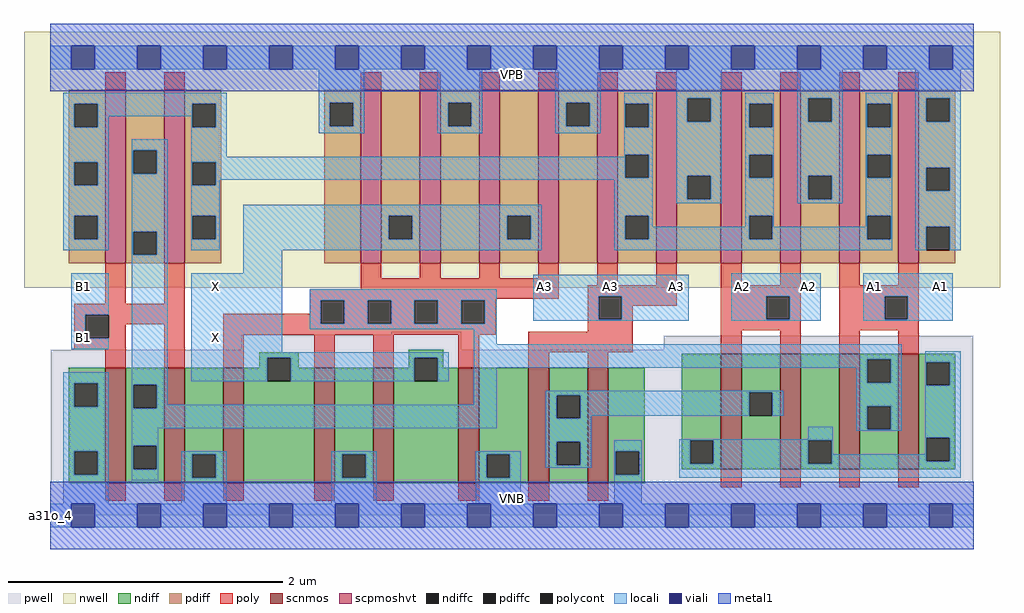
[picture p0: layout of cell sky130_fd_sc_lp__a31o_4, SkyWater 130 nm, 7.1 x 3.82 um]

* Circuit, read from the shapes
.subckt sky130_fd_sc_lp__a31o_4 A1 A2 A3 B1 VGND VNB VPB VPWR X
XM1 n1 B1 VGND VNB sky130_fd_pr__nfet_01v8 w=0.84 l=0.15 m=2
XM2 X n1 VGND VNB sky130_fd_pr__nfet_01v8 w=0.84 l=0.15 m=4
XM3 n2 A3 VGND VNB sky130_fd_pr__nfet_01v8 w=0.84 l=0.15 m=2
XM4 n2 A2 n3 VNB sky130_fd_pr__nfet_01v8 w=0.84 l=0.15 m=2
XM5 n1 A1 n3 VNB sky130_fd_pr__nfet_01v8 w=0.84 l=0.15 m=2
XM6 n1 B1 n4 VPB sky130_fd_pr__pfet_01v8_hvt w=1.26 l=0.15 m=2
XM7 X n1 VPWR VPB sky130_fd_pr__pfet_01v8_hvt w=1.26 l=0.15 m=4
XM8 n4 A3 VPWR VPB sky130_fd_pr__pfet_01v8_hvt w=1.26 l=0.15 m=2
XM9 n4 A2 VPWR VPB sky130_fd_pr__pfet_01v8_hvt w=1.26 l=0.15 m=2
XM10 n4 A1 VPWR VPB sky130_fd_pr__pfet_01v8_hvt w=1.26 l=0.15 m=2
.ends

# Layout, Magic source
magic
tech sky130A
magscale 1 2
<< nwell >>
rect -38 331 1382 704
<< pwell >>
rect 496 263 598 267
rect 278 241 598 263
rect 893 241 1343 261
rect 1 49 1343 241
rect 0 0 1344 49
<< scnmos >>
rect 80 47 110 215
rect 166 47 196 215
rect 252 47 282 215
rect 384 47 414 215
rect 470 47 500 215
rect 594 47 624 215
rect 696 47 726 215
rect 782 47 812 215
rect 976 67 1006 235
rect 1062 67 1092 235
rect 1148 67 1178 235
rect 1234 67 1264 235
<< scpmoshvt >>
rect 80 367 110 619
rect 166 367 196 619
rect 452 367 482 619
rect 538 367 568 619
rect 624 367 654 619
rect 710 367 740 619
rect 796 367 826 619
rect 882 367 912 619
rect 976 367 1006 619
rect 1062 367 1092 619
rect 1148 367 1178 619
rect 1234 367 1264 619
<< ndiff >>
rect 304 229 362 237
rect 304 215 316 229
rect 27 192 80 215
rect 27 158 35 192
rect 69 158 80 192
rect 27 93 80 158
rect 27 59 35 93
rect 69 59 80 93
rect 27 47 80 59
rect 110 190 166 215
rect 110 156 121 190
rect 155 156 166 190
rect 110 101 166 156
rect 110 67 121 101
rect 155 67 166 101
rect 110 47 166 67
rect 196 89 252 215
rect 196 55 207 89
rect 241 55 252 89
rect 196 47 252 55
rect 282 195 316 215
rect 350 215 362 229
rect 522 229 572 241
rect 522 215 530 229
rect 350 195 384 215
rect 282 47 384 195
rect 414 89 470 215
rect 414 55 425 89
rect 459 55 470 89
rect 414 47 470 55
rect 500 195 530 215
rect 564 215 572 229
rect 564 195 594 215
rect 500 47 594 195
rect 624 89 696 215
rect 624 55 635 89
rect 669 55 696 89
rect 624 47 696 55
rect 726 175 782 215
rect 726 141 737 175
rect 771 141 782 175
rect 726 107 782 141
rect 726 73 737 107
rect 771 73 782 107
rect 726 47 782 73
rect 812 93 865 215
rect 812 59 823 93
rect 857 59 865 93
rect 919 109 976 235
rect 919 75 931 109
rect 965 75 976 109
rect 919 67 976 75
rect 1006 179 1062 235
rect 1006 145 1017 179
rect 1051 145 1062 179
rect 1006 67 1062 145
rect 1092 109 1148 235
rect 1092 75 1103 109
rect 1137 75 1148 109
rect 1092 67 1148 75
rect 1178 227 1234 235
rect 1178 193 1189 227
rect 1223 193 1234 227
rect 1178 159 1234 193
rect 1178 125 1189 159
rect 1223 125 1234 159
rect 1178 67 1234 125
rect 1264 223 1317 235
rect 1264 189 1275 223
rect 1309 189 1317 223
rect 1264 113 1317 189
rect 1264 79 1275 113
rect 1309 79 1317 113
rect 1264 67 1317 79
rect 812 47 865 59
<< pdiff >>
rect 27 599 80 619
rect 27 565 35 599
rect 69 565 80 599
rect 27 514 80 565
rect 27 480 35 514
rect 69 480 80 514
rect 27 436 80 480
rect 27 402 35 436
rect 69 402 80 436
rect 27 367 80 402
rect 110 531 166 619
rect 110 497 121 531
rect 155 497 166 531
rect 110 413 166 497
rect 110 379 121 413
rect 155 379 166 413
rect 110 367 166 379
rect 196 599 249 619
rect 196 565 207 599
rect 241 565 249 599
rect 196 514 249 565
rect 196 480 207 514
rect 241 480 249 514
rect 196 436 249 480
rect 196 402 207 436
rect 241 402 249 436
rect 196 367 249 402
rect 399 600 452 619
rect 399 566 407 600
rect 441 566 452 600
rect 399 367 452 566
rect 482 436 538 619
rect 482 402 493 436
rect 527 402 538 436
rect 482 367 538 402
rect 568 600 624 619
rect 568 566 579 600
rect 613 566 624 600
rect 568 367 624 566
rect 654 436 710 619
rect 654 402 665 436
rect 699 402 710 436
rect 654 367 710 402
rect 740 600 796 619
rect 740 566 751 600
rect 785 566 796 600
rect 740 367 796 566
rect 826 599 882 619
rect 826 565 837 599
rect 871 565 882 599
rect 826 525 882 565
rect 826 491 837 525
rect 871 491 882 525
rect 826 436 882 491
rect 826 402 837 436
rect 871 402 882 436
rect 826 367 882 402
rect 912 607 976 619
rect 912 573 927 607
rect 961 573 976 607
rect 912 494 976 573
rect 912 460 927 494
rect 961 460 976 494
rect 912 367 976 460
rect 1006 599 1062 619
rect 1006 565 1017 599
rect 1051 565 1062 599
rect 1006 525 1062 565
rect 1006 491 1017 525
rect 1051 491 1062 525
rect 1006 436 1062 491
rect 1006 402 1017 436
rect 1051 402 1062 436
rect 1006 367 1062 402
rect 1092 607 1148 619
rect 1092 573 1103 607
rect 1137 573 1148 607
rect 1092 494 1148 573
rect 1092 460 1103 494
rect 1137 460 1148 494
rect 1092 367 1148 460
rect 1178 599 1234 619
rect 1178 565 1189 599
rect 1223 565 1234 599
rect 1178 525 1234 565
rect 1178 491 1189 525
rect 1223 491 1234 525
rect 1178 436 1234 491
rect 1178 402 1189 436
rect 1223 402 1234 436
rect 1178 367 1234 402
rect 1264 607 1317 619
rect 1264 573 1275 607
rect 1309 573 1317 607
rect 1264 506 1317 573
rect 1264 472 1275 506
rect 1309 472 1317 506
rect 1264 420 1317 472
rect 1264 386 1275 420
rect 1309 386 1317 420
rect 1264 367 1317 386
<< ndiffc >>
rect 35 158 69 192
rect 35 59 69 93
rect 121 156 155 190
rect 121 67 155 101
rect 207 55 241 89
rect 316 195 350 229
rect 425 55 459 89
rect 530 195 564 229
rect 635 55 669 89
rect 737 141 771 175
rect 737 73 771 107
rect 823 59 857 93
rect 931 75 965 109
rect 1017 145 1051 179
rect 1103 75 1137 109
rect 1189 193 1223 227
rect 1189 125 1223 159
rect 1275 189 1309 223
rect 1275 79 1309 113
<< pdiffc >>
rect 35 565 69 599
rect 35 480 69 514
rect 35 402 69 436
rect 121 497 155 531
rect 121 379 155 413
rect 207 565 241 599
rect 207 480 241 514
rect 207 402 241 436
rect 407 566 441 600
rect 493 402 527 436
rect 579 566 613 600
rect 665 402 699 436
rect 751 566 785 600
rect 837 565 871 599
rect 837 491 871 525
rect 837 402 871 436
rect 927 573 961 607
rect 927 460 961 494
rect 1017 565 1051 599
rect 1017 491 1051 525
rect 1017 402 1051 436
rect 1103 573 1137 607
rect 1103 460 1137 494
rect 1189 565 1223 599
rect 1189 491 1223 525
rect 1189 402 1223 436
rect 1275 573 1309 607
rect 1275 472 1309 506
rect 1275 386 1309 420
<< poly >>
rect 80 619 110 645
rect 166 619 196 645
rect 452 619 482 645
rect 538 619 568 645
rect 624 619 654 645
rect 710 619 740 645
rect 796 619 826 645
rect 882 619 912 645
rect 976 619 1006 645
rect 1062 619 1092 645
rect 1148 619 1178 645
rect 1234 619 1264 645
rect 80 308 110 367
rect 166 308 196 367
rect 452 345 482 367
rect 538 345 568 367
rect 624 345 654 367
rect 710 345 740 367
rect 452 329 740 345
rect 796 335 826 367
rect 882 335 912 367
rect 35 292 196 308
rect 378 315 740 329
rect 782 319 912 335
rect 378 313 648 315
rect 378 293 394 313
rect 35 258 51 292
rect 85 278 196 292
rect 85 258 110 278
rect 35 242 110 258
rect 80 215 110 242
rect 166 215 196 278
rect 252 279 394 293
rect 428 279 462 313
rect 496 279 530 313
rect 564 279 598 313
rect 632 279 648 313
rect 252 263 648 279
rect 782 285 798 319
rect 832 305 912 319
rect 976 335 1006 367
rect 1062 335 1092 367
rect 976 319 1092 335
rect 832 285 848 305
rect 782 267 848 285
rect 252 215 282 263
rect 384 215 414 263
rect 470 215 500 263
rect 594 215 624 263
rect 696 237 848 267
rect 976 285 1042 319
rect 1076 285 1092 319
rect 976 269 1092 285
rect 696 215 726 237
rect 782 215 812 237
rect 976 235 1006 269
rect 1062 235 1092 269
rect 1148 335 1178 367
rect 1234 335 1264 367
rect 1148 319 1264 335
rect 1148 285 1214 319
rect 1248 285 1264 319
rect 1148 269 1264 285
rect 1148 235 1178 269
rect 1234 235 1264 269
rect 80 21 110 47
rect 166 21 196 47
rect 252 21 282 47
rect 384 21 414 47
rect 470 21 500 47
rect 594 21 624 47
rect 696 21 726 47
rect 782 21 812 47
rect 976 41 1006 67
rect 1062 41 1092 67
rect 1148 41 1178 67
rect 1234 41 1264 67
<< polycont >>
rect 51 258 85 292
rect 394 279 428 313
rect 462 279 496 313
rect 530 279 564 313
rect 598 279 632 313
rect 798 285 832 319
rect 1042 285 1076 319
rect 1214 285 1248 319
<< locali >>
rect 0 649 31 683
rect 65 649 127 683
rect 161 649 223 683
rect 257 649 319 683
rect 353 649 415 683
rect 449 649 511 683
rect 545 649 607 683
rect 641 649 703 683
rect 737 649 799 683
rect 833 649 895 683
rect 929 649 991 683
rect 1025 649 1087 683
rect 1121 649 1183 683
rect 1217 649 1279 683
rect 1313 649 1344 683
rect 19 599 257 615
rect 19 565 35 599
rect 69 581 207 599
rect 69 565 85 581
rect 19 514 85 565
rect 205 565 207 581
rect 241 565 257 599
rect 19 480 35 514
rect 69 480 85 514
rect 19 436 85 480
rect 19 402 35 436
rect 69 402 85 436
rect 19 386 85 402
rect 119 531 171 547
rect 119 497 121 531
rect 155 497 171 531
rect 119 413 171 497
rect 119 379 121 413
rect 155 379 171 413
rect 205 522 257 565
rect 391 600 457 649
rect 391 566 407 600
rect 441 566 457 600
rect 391 556 457 566
rect 563 600 629 649
rect 563 566 579 600
rect 613 566 629 600
rect 563 556 629 566
rect 735 600 801 649
rect 735 566 751 600
rect 785 566 801 600
rect 735 556 801 566
rect 835 599 877 615
rect 835 565 837 599
rect 871 565 877 599
rect 835 525 877 565
rect 835 522 837 525
rect 205 514 837 522
rect 205 480 207 514
rect 241 491 837 514
rect 871 491 877 525
rect 241 488 877 491
rect 241 480 247 488
rect 205 436 247 480
rect 205 402 207 436
rect 241 402 247 436
rect 205 386 247 402
rect 281 436 715 452
rect 281 402 493 436
rect 527 402 665 436
rect 699 402 715 436
rect 281 386 715 402
rect 821 436 877 488
rect 911 607 977 649
rect 911 573 927 607
rect 961 573 977 607
rect 911 494 977 573
rect 911 460 927 494
rect 961 460 977 494
rect 911 454 977 460
rect 1011 599 1053 615
rect 1011 565 1017 599
rect 1051 565 1053 599
rect 1011 525 1053 565
rect 1011 491 1017 525
rect 1051 491 1053 525
rect 821 402 837 436
rect 871 420 877 436
rect 1011 436 1053 491
rect 1087 607 1153 649
rect 1087 573 1103 607
rect 1137 573 1153 607
rect 1087 494 1153 573
rect 1087 460 1103 494
rect 1137 460 1153 494
rect 1087 454 1153 460
rect 1187 599 1225 615
rect 1187 565 1189 599
rect 1223 565 1225 599
rect 1187 525 1225 565
rect 1187 491 1189 525
rect 1223 491 1225 525
rect 1011 420 1017 436
rect 871 402 1017 420
rect 1051 420 1053 436
rect 1187 436 1225 491
rect 1187 420 1189 436
rect 1051 402 1189 420
rect 1223 402 1225 436
rect 821 386 1225 402
rect 1259 607 1325 649
rect 1259 573 1275 607
rect 1309 573 1325 607
rect 1259 506 1325 573
rect 1259 472 1275 506
rect 1309 472 1325 506
rect 1259 420 1325 472
rect 1259 386 1275 420
rect 1309 386 1325 420
rect 31 292 85 352
rect 31 258 51 292
rect 31 242 85 258
rect 19 192 85 208
rect 19 158 35 192
rect 69 158 85 192
rect 19 93 85 158
rect 19 59 35 93
rect 69 59 85 93
rect 19 17 85 59
rect 119 190 171 379
rect 281 352 338 386
rect 205 237 338 352
rect 378 313 650 329
rect 378 279 394 313
rect 428 279 462 313
rect 496 279 530 313
rect 564 279 598 313
rect 632 279 650 313
rect 703 319 929 350
rect 703 285 798 319
rect 832 285 929 319
rect 703 283 929 285
rect 991 319 1121 352
rect 991 285 1042 319
rect 1076 285 1121 319
rect 991 283 1121 285
rect 1183 319 1313 352
rect 1183 285 1214 319
rect 1248 285 1313 319
rect 1183 283 1313 285
rect 378 271 650 279
rect 616 249 650 271
rect 205 229 580 237
rect 205 195 316 229
rect 350 195 530 229
rect 564 195 580 229
rect 616 227 1239 249
rect 616 215 1189 227
rect 119 156 121 190
rect 155 161 171 190
rect 616 161 650 215
rect 1173 193 1189 215
rect 1223 193 1239 227
rect 155 156 650 161
rect 119 127 650 156
rect 721 179 1067 181
rect 721 175 1017 179
rect 721 141 737 175
rect 771 145 1017 175
rect 1051 145 1067 179
rect 1173 159 1239 193
rect 771 141 787 145
rect 119 101 157 127
rect 119 67 121 101
rect 155 67 157 101
rect 721 107 787 141
rect 1103 111 1139 129
rect 1173 125 1189 159
rect 1223 125 1239 159
rect 1173 123 1239 125
rect 1273 223 1325 239
rect 1273 189 1275 223
rect 1309 189 1325 223
rect 915 109 1139 111
rect 119 51 157 67
rect 191 89 257 93
rect 191 55 207 89
rect 241 55 257 89
rect 191 17 257 55
rect 409 89 475 93
rect 409 55 425 89
rect 459 55 475 89
rect 409 17 475 55
rect 619 89 685 93
rect 619 55 635 89
rect 669 55 685 89
rect 721 73 737 107
rect 771 73 787 107
rect 721 69 787 73
rect 821 93 861 109
rect 619 17 685 55
rect 821 59 823 93
rect 857 59 861 93
rect 821 17 861 59
rect 915 75 931 109
rect 965 75 1103 109
rect 1137 89 1139 109
rect 1273 113 1325 189
rect 1273 89 1275 113
rect 1137 79 1275 89
rect 1309 79 1325 113
rect 1137 75 1325 79
rect 915 55 1325 75
rect 0 -17 31 17
rect 65 -17 127 17
rect 161 -17 223 17
rect 257 -17 319 17
rect 353 -17 415 17
rect 449 -17 511 17
rect 545 -17 607 17
rect 641 -17 703 17
rect 737 -17 799 17
rect 833 -17 895 17
rect 929 -17 991 17
rect 1025 -17 1087 17
rect 1121 -17 1183 17
rect 1217 -17 1279 17
rect 1313 -17 1344 17
<< viali >>
rect 31 649 65 683
rect 127 649 161 683
rect 223 649 257 683
rect 319 649 353 683
rect 415 649 449 683
rect 511 649 545 683
rect 607 649 641 683
rect 703 649 737 683
rect 799 649 833 683
rect 895 649 929 683
rect 991 649 1025 683
rect 1087 649 1121 683
rect 1183 649 1217 683
rect 1279 649 1313 683
rect 31 -17 65 17
rect 127 -17 161 17
rect 223 -17 257 17
rect 319 -17 353 17
rect 415 -17 449 17
rect 511 -17 545 17
rect 607 -17 641 17
rect 703 -17 737 17
rect 799 -17 833 17
rect 895 -17 929 17
rect 991 -17 1025 17
rect 1087 -17 1121 17
rect 1183 -17 1217 17
rect 1279 -17 1313 17
<< metal1 >>
rect 0 683 1344 715
rect 0 649 31 683
rect 65 649 127 683
rect 161 649 223 683
rect 257 649 319 683
rect 353 649 415 683
rect 449 649 511 683
rect 545 649 607 683
rect 641 649 703 683
rect 737 649 799 683
rect 833 649 895 683
rect 929 649 991 683
rect 1025 649 1087 683
rect 1121 649 1183 683
rect 1217 649 1279 683
rect 1313 649 1344 683
rect 0 617 1344 649
rect 0 17 1344 49
rect 0 -17 31 17
rect 65 -17 127 17
rect 161 -17 223 17
rect 257 -17 319 17
rect 353 -17 415 17
rect 449 -17 511 17
rect 545 -17 607 17
rect 641 -17 703 17
rect 737 -17 799 17
rect 833 -17 895 17
rect 929 -17 991 17
rect 1025 -17 1087 17
rect 1121 -17 1183 17
rect 1217 -17 1279 17
rect 1313 -17 1344 17
rect 0 -49 1344 -17
<< labels >>
flabel pwell s 0 0 1344 49 0 FreeSans 200 0 0 0 VNB
port 6 nsew ground bidirectional
flabel nwell s 0 617 1344 666 0 FreeSans 200 0 0 0 VPB
port 7 nsew power bidirectional
rlabel comment s 0 0 0 0 4 a31o_4
flabel metal1 s 0 617 1344 666 0 FreeSans 340 0 0 0 VPWR
port 8 nsew power bidirectional
flabel metal1 s 0 0 1344 49 0 FreeSans 340 0 0 0 VGND
port 5 nsew ground bidirectional
flabel locali s 1183 316 1217 350 0 FreeSans 340 0 0 0 A1
port 1 nsew signal input
flabel locali s 1279 316 1313 350 0 FreeSans 340 0 0 0 A1
port 1 nsew signal input
flabel locali s 991 316 1025 350 0 FreeSans 340 0 0 0 A2
port 2 nsew signal input
flabel locali s 1087 316 1121 350 0 FreeSans 340 0 0 0 A2
port 2 nsew signal input
flabel locali s 703 316 737 350 0 FreeSans 340 0 0 0 A3
port 3 nsew signal input
flabel locali s 799 316 833 350 0 FreeSans 340 0 0 0 A3
port 3 nsew signal input
flabel locali s 895 316 929 350 0 FreeSans 340 0 0 0 A3
port 3 nsew signal input
flabel locali s 31 242 65 276 0 FreeSans 340 0 0 0 B1
port 4 nsew signal input
flabel locali s 31 316 65 350 0 FreeSans 340 0 0 0 B1
port 4 nsew signal input
flabel locali s 223 242 257 276 0 FreeSans 340 0 0 0 X
port 9 nsew signal output
flabel locali s 223 316 257 350 0 FreeSans 340 0 0 0 X
port 9 nsew signal output
<< properties >>
string LEFsite unit
string LEFclass CORE
string FIXED_BBOX 0 0 1344 666
string GDS_FILE $PDKPATH/libs.ref/sky130_fd_sc_lp/gds/sky130_fd_sc_lp.gds
string LEFsymmetry X Y R90
string GDS_END 2607920
string GDS_START 2597082
<< end >>
